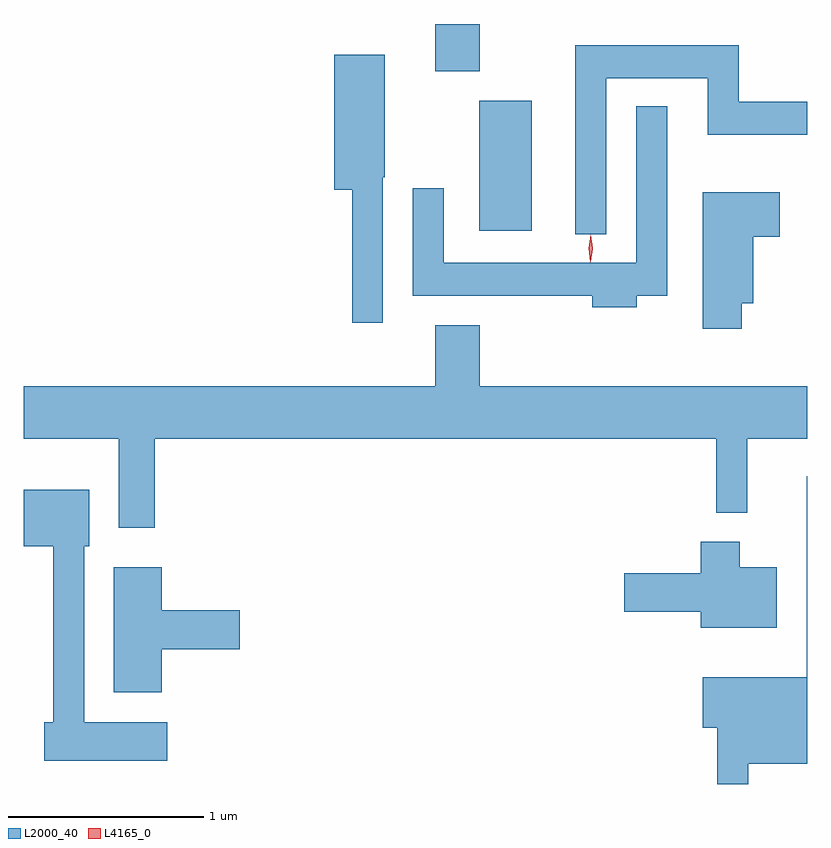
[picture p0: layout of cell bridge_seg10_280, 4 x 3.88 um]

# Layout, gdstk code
import gdstk
lib = gdstk.Library(unit=1e-6, precision=1e-09)
def R(c, l, rs):  # rectangles x0, y0, x1, y1
    for r in rs: c.add(gdstk.rectangle(r[:2], r[2:], *l))
def P(c, l, *ps):  # polygons
    for p in ps: c.add(gdstk.Polygon(p, *l))
L2000_40 = (2000, 40)
L4165_0 = (4165, 0)

bridge_seg10_280 = lib.new_cell('bridge_seg10_280')
R(bridge_seg10_280, L2000_40, [(1450.696,2183.796,1450.964,2184.459), (1450.471,2184.611,1450.699,2184.852)])
P(bridge_seg10_280, L2000_40, [(1451.344,2184.576),(1451.861,2184.576),(1451.861,2184.286),(1452.37,2184.286),(1452.37,2184.454),(1452.019,2184.454),(1452.019,2184.744),(1451.186,2184.744),(1451.186,2183.778),(1451.344,2183.778)],
  [(1450.204,2184.07),(1450.214,2184.07),(1450.214,2184.694),(1449.956,2184.694),(1449.956,2184.006),(1450.046,2184.006),(1450.046,2183.328),(1450.204,2183.328)],
  [(1451.499,2183.466),(1451.654,2183.466),(1451.654,2184.433),(1451.496,2184.433),(1451.496,2183.634),(1450.514,2183.634),(1450.514,2184.013),(1450.356,2184.013),(1450.356,2183.466),(1451.271,2183.466),(1451.271,2183.406),(1451.499,2183.406)],
  [(1452.034,2183.426),(1452.094,2183.426),(1452.094,2183.766),(1452.229,2183.766),(1452.229,2183.994),(1451.836,2183.994),(1451.836,2183.296),(1452.034,2183.296)],
  [(1449.039,2182.736),(1451.906,2182.736),(1451.906,2182.358),(1452.064,2182.358),(1452.064,2182.736),(1452.37,2182.736),(1452.37,2183.004),(1450.699,2183.004),(1450.699,2183.314),(1450.471,2183.314),(1450.471,2183.004),(1448.37,2183.004),(1448.37,2182.736),(1448.856,2182.736),(1448.856,2182.281),(1449.039,2182.281)],
  [(1452.069,2181.076),(1452.37,2181.076),(1452.37,2182.543),(1452.366,2182.543),(1452.366,2181.519),(1451.836,2181.519),(1451.836,2181.261),(1451.911,2181.261),(1451.911,2180.973),(1452.069,2180.973)],
  [(1449.104,2181.289),(1448.679,2181.289),(1448.679,2182.186),(1448.704,2182.186),(1448.704,2182.474),(1448.37,2182.474),(1448.37,2182.186),(1448.521,2182.186),(1448.521,2181.289),(1448.476,2181.289),(1448.476,2181.091),(1449.104,2181.091)],
  [(1452.214,2182.079),(1452.024,2182.079),(1452.024,2182.209),(1451.826,2182.209),(1451.826,2182.049),(1451.436,2182.049),(1451.436,2181.851),(1451.826,2181.851),(1451.826,2181.771),(1452.214,2181.771)],
  [(1449.074,2181.661),(1449.474,2181.661),(1449.474,2181.859),(1449.074,2181.859),(1449.074,2182.079),(1448.831,2182.079),(1448.831,2181.441),(1449.074,2181.441)])
P(bridge_seg10_280, L4165_0, [(1451.263,2183.637),(1451.263,2183.638),(1451.254,2183.707),(1451.264,2183.776),(1451.264,2183.776),(1451.265,2183.776),(1451.274,2183.707),(1451.264,2183.638)],
  [(1451.265,2183.639),(1451.264,2183.64),(1451.255,2183.706),(1451.264,2183.772),(1451.265,2183.773),(1451.265,2183.772),(1451.275,2183.706),(1451.265,2183.64)])

lib.write_gds('bridge_seg10_280.gds')
